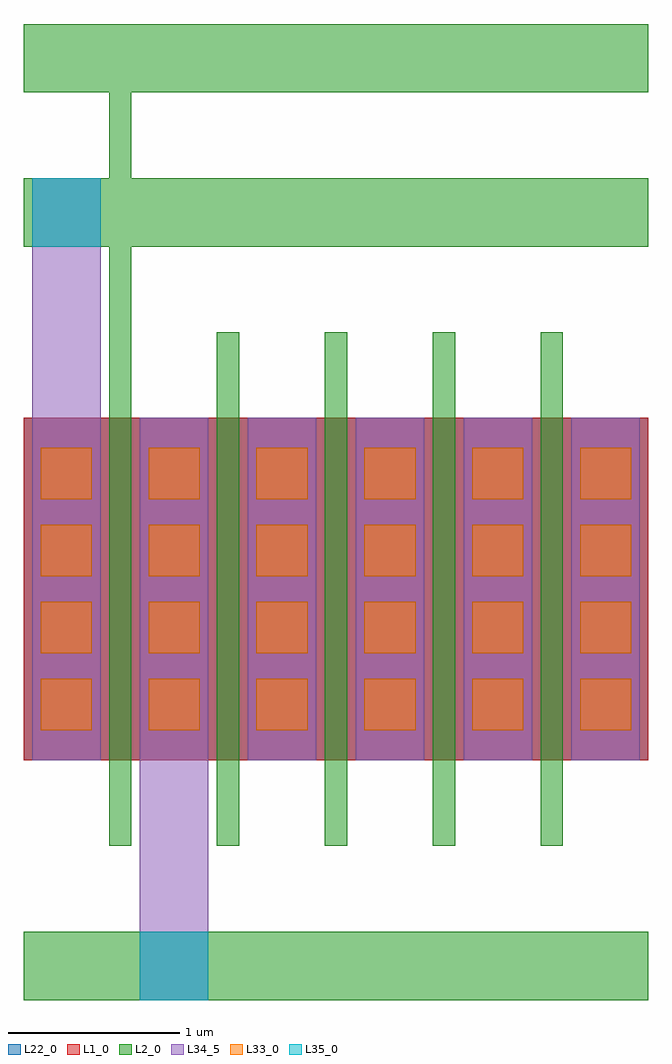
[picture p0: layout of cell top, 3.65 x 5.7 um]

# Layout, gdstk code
import gdstk
lib = gdstk.Library(unit=1e-6, precision=5e-09)
def R(c, l, rs):  # rectangles x0, y0, x1, y1
    for r in rs: c.add(gdstk.rectangle(r[:2], r[2:], *l))
def A(c, l, x, y, w, h, nx, ny, dx, dy):  # array of equal rectangles
    R(c, l, [(x+i*dx, y+j*dy, x+i*dx+w, y+j*dy+h) for i in range(nx) for j in range(ny)])
L1_0 = (1, 0)
L2_0 = (2, 0)
L22_0 = (22, 0)
L33_0 = (33, 0)
L34_5 = (34, 5)
L35_0 = (35, 0)

h_gnd = lib.new_cell('h_gnd')
R(h_gnd, L2_0, [(0,-0.8,3.65,-0.4)])
h_gnd.add(gdstk.Label('gnd', (0,-0.6), layer=2, texttype=0))

nmos_5 = lib.new_cell('nmos_5')
R(nmos_5, L1_0, [(0,0,3.65,2)])
A(nmos_5, L2_0, 0.5, -0.5, 0.13, 3, 5, 1, 0.63, 0)
R(nmos_5, L22_0, [(0,0,3.65,2)])
A(nmos_5, L33_0, 0.1, 0.175, 0.3, 0.3, 6, 4, 0.63, 0.45)
A(nmos_5, L34_5, 0.05, 0, 0.4, 2, 6, 1, 0.63, 0)
nmos_5.add(gdstk.Label('g0', (0.565,-0.5), layer=2, texttype=0))
nmos_5.add(gdstk.Label('g1', (1.195,-0.5), layer=2, texttype=0))
nmos_5.add(gdstk.Label('g2', (1.825,-0.5), layer=2, texttype=0))
nmos_5.add(gdstk.Label('g3', (2.455,-0.5), layer=2, texttype=0))
nmos_5.add(gdstk.Label('g4', (3.085,-0.5), layer=2, texttype=0))
nmos_5.add(gdstk.Label('dr0', (0.25,1), layer=34, texttype=16))
nmos_5.add(gdstk.Label('dr1', (0.88,1), layer=34, texttype=16))
nmos_5.add(gdstk.Label('dr2', (1.51,1), layer=34, texttype=16))
nmos_5.add(gdstk.Label('dr3', (2.14,1), layer=34, texttype=16))
nmos_5.add(gdstk.Label('dr4', (2.77,1), layer=34, texttype=16))
nmos_5.add(gdstk.Label('dr5', (3.4,1), layer=34, texttype=16))

h_vdd = lib.new_cell('h_vdd')
R(h_vdd, L2_0, [(0,3.6,3.65,4)])
h_vdd.add(gdstk.Label('vdd', (0,3.8), layer=2, texttype=0))

h_vout = lib.new_cell('h_vout')
R(h_vout, L2_0, [(0,4.5,3.65,4.9)])
h_vout.add(gdstk.Label('vout', (0,4.7), layer=2, texttype=0))

via = lib.new_cell('via')
R(via, L35_0, [(0,0,0.4,0.4)])

via_1 = lib.new_cell('via$1')
R(via_1, L35_0, [(0,0,0.4,0.4)])

top = lib.new_cell('top')
R(top, L2_0, [(0.5,3.4,0.63,5.2)])
R(top, L34_5, [(0.68,-0.5,1.08,0.9), (0.05,2.9,0.45,4.3)])
top.add(gdstk.Reference(h_gnd, (0,0.3)))
top.add(gdstk.Reference(nmos_5, (0,0.9)))
top.add(gdstk.Reference(h_vdd, (0,0.3)))
top.add(gdstk.Reference(h_vout, (0,0.3)))
top.add(gdstk.Reference(via, (0.05,3.9)))
top.add(gdstk.Reference(via_1, (0.68,-0.5)))

lib.write_gds('top.gds')
